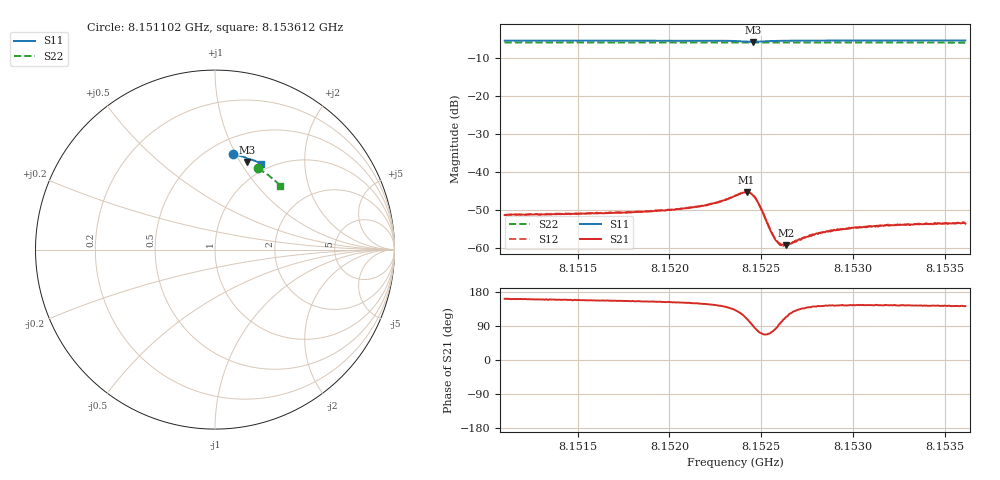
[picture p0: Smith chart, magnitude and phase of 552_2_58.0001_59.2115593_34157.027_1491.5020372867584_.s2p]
#  HZ  S  RI  R  50.00
! Rohde & Schwarz Vector Network Analyzer
! Rohde-Schwarz,ZNB20-2Port,1311601062101988,3.16
! Created: UTC 3/21/2024, 1:15:03 AM
! freq[Hz]  re:S11  im:S11  re:S21  im:S21  re:S12  im:S12  re:S22  im:S22
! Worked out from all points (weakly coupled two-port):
!   401 points, 8.151102 GHz to 8.153612 GHz, reference 50 ohm
!   highest |S21| = -45.36 dB at 8.15242 GHz (marker M1); lowest = -59.4 dB at 8.152634 GHz (marker M2)
!   lowest |S11| = -5.7 dB at 8.152458 GHz (marker M3), VSWR 3.17, Z = 40 + j53.6 ohm
!   |S11| at or under -10 dB: nowhere
!   |S22| runs from -5.9 to -5.8 dB; largest |S21 - S12| = 0.00013
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8.1511024e9  0.0975 0.5305  -0.00254 0.000854  -0.00258 0.000915  0.2396 0.4519
8.1515228e9  0.1268 0.5249  -0.00262 0.00106  -0.00259 0.00108  0.2629 0.4381
8.1519433e9  0.156 0.5175  -0.00276 0.00138  -0.00276 0.00143  0.2852 0.4233
8.1520625e9  0.1647 0.5147  -0.00285 0.00154  -0.00287 0.0016  0.2914 0.4189
8.1521943e9  0.175 0.5106  -0.00307 0.00193  -0.00307 0.00197  0.2982 0.4136
8.1522758e9  0.1817 0.5069  -0.00325 0.00241  -0.00326 0.0025  0.3025 0.4105
8.1523574e9  0.1881 0.4997  -0.00322 0.00359  -0.00319 0.00366  0.3064 0.407
8.1524202e9  0.1871 0.4901  -0.00184 0.00508  -0.00178 0.00513  0.3092 0.4043
8.152439e9  0.1839 0.4882  -0.000888 0.00519  -0.000827 0.00522  0.31 0.4037
8.1524578e9  0.1802 0.4884  0.000126 0.00483  0.000146 0.00485  0.3108 0.4029
8.1524766e9  0.1772 0.491  0.000814 0.00411  0.000875 0.00411  0.3115 0.4024
8.1524955e9  0.1763 0.4943  0.00108 0.00323  0.00113 0.00327  0.3126 0.4018
8.1525457e9  0.1804 0.501  0.000622 0.00167  0.000637 0.00171  0.3151 0.4001
8.152577e9  0.1841 0.5027  0.000187 0.00126  0.000191 0.0013  0.3169 0.3988
8.1525896e9  0.1855 0.5031  4.14e-05 0.00118  4e-05 0.0012  0.3173 0.3984
8.1526084e9  0.1877 0.5034  -0.000188 0.00106  -0.00016 0.00112  0.3184 0.3976
8.1526335e9  0.1902 0.5034  -0.000414 0.000993  -0.000388 0.00101  0.3197 0.3967
8.1527778e9  0.2031 0.5012  -0.00113 0.000918  -0.00114 0.000971  0.3267 0.3905
8.1528469e9  0.2084 0.4994  -0.00128 0.000959  -0.00128 0.000983  0.3301 0.3876
8.1530037e9  0.2194 0.4954  -0.0015 0.00105  -0.00149 0.00108  0.3377 0.3809
8.1531983e9  0.2324 0.49  -0.00159 0.00115  -0.00159 0.00118  0.3465 0.3725
8.1536124e9  0.2589 0.4774  -0.00164 0.00127  -0.00164 0.00132  0.3648 0.3536
